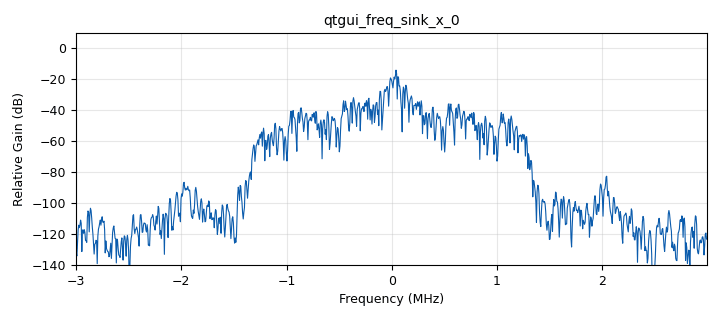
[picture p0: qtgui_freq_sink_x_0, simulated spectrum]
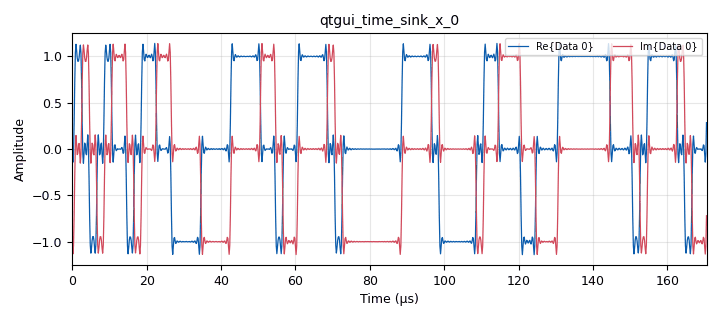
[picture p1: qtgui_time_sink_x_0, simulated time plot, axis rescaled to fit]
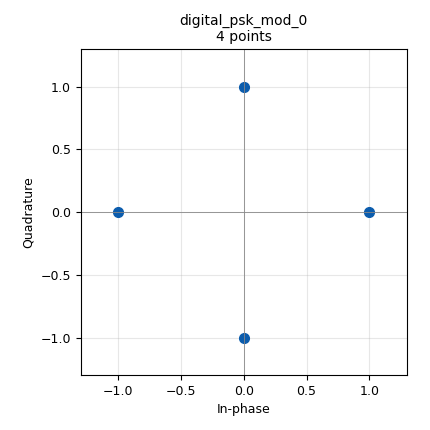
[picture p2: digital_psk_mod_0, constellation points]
<?xml version='1.0' encoding='utf-8'?>
<?grc format='1' created='3.7.11'?>
<flow_graph>
<block>
<key>options</key>
<param><key>id</key><value>transmit</value></param>
<param><key>generate_options</key><value>qt_gui</value></param>
</block>
<block>
<key>variable</key>
<param><key>id</key><value>freq</value></param>
<param><key>value</key><value>2e6</value></param>
</block>
<block>
<key>variable</key>
<param><key>id</key><value>samp_rate</value></param>
<param><key>value</key><value>6e6</value></param>
</block>
<block>
<key>analog_random_source_x</key>
<param><key>id</key><value>analog_random_source_x_0</value></param>
<param><key>max</key><value>2</value></param>
<param><key>min</key><value>0</value></param>
<param><key>num_samps</key><value>1000</value></param>
<param><key>type</key><value>byte</value></param>
<param><key>repeat</key><value>True</value></param>
</block>
<block>
<key>blocks_file_sink</key>
<param><key>id</key><value>blocks_file_sink_0</value></param>
<param><key>type</key><value>byte</value></param>
<param><key>unbuffered</key><value>True</value></param>
</block>
<block>
<key>blocks_throttle</key>
<param><key>id</key><value>blocks_throttle_0</value></param>
<param><key>samples_per_second</key><value>samp_rate</value></param>
<param><key>type</key><value>byte</value></param>
</block>
<block>
<key>digital_psk_mod</key>
<param><key>id</key><value>digital_psk_mod_0</value></param>
<param><key>differential</key><value>True</value></param>
<param><key>excess_bw</key><value>0.35</value></param>
<param><key>mod_code</key><value>"none"</value></param>
<param><key>constellation_points</key><value>4</value></param>
<param><key>samples_per_symbol</key><value>3</value></param>
</block>
<block>
<key>pluto_sink</key>
<param><key>id</key><value>pluto_sink_0</value></param>
<param><key>attenuation</key><value>10.0</value></param>
<param><key>buffer_size</key><value>0x8000</value></param>
<param><key>cyclic</key><value>False</value></param>
<param><key>auto_filter</key><value>True</value></param>
<param><key>filter</key><value></value></param>
<param><key>uri</key><value>ip:pluto.local</value></param>
<param><key>frequency</key><value>2400000000</value></param>
<param><key>bandwidth</key><value>freq</value></param>
<param><key>samplerate</key><value>samp_rate</value></param>
</block>
<block>
<key>qtgui_freq_sink_x</key>
<param><key>id</key><value>qtgui_freq_sink_x_0</value></param>
<param><key>bw</key><value>samp_rate</value></param>
<param><key>fc</key><value>0</value></param>
<param><key>fftsize</key><value>1024</value></param>
<param><key>showports</key><value>True</value></param>
<param><key>type</key><value>complex</value></param>
<param><key>wintype</key><value>firdes.WIN_BLACKMAN_hARRIS</value></param>
</block>
<block>
<key>qtgui_time_sink_x</key>
<param><key>id</key><value>qtgui_time_sink_x_0</value></param>
<param><key>color1</key><value>"blue"</value></param>
<param><key>label1</key><value></value></param>
<param><key>color2</key><value>"red"</value></param>
<param><key>label2</key><value></value></param>
<param><key>size</key><value>1024</value></param>
<param><key>srate</key><value>samp_rate</value></param>
<param><key>type</key><value>complex</value></param>
</block>
<connection><source_block_id>analog_random_source_x_0</source_block_id><sink_block_id>blocks_throttle_0</sink_block_id><source_key>0</source_key><sink_key>0</sink_key></connection>
<connection><source_block_id>blocks_throttle_0</source_block_id><sink_block_id>blocks_file_sink_0</sink_block_id><source_key>0</source_key><sink_key>0</sink_key></connection>
<connection><source_block_id>blocks_throttle_0</source_block_id><sink_block_id>digital_psk_mod_0</sink_block_id><source_key>0</source_key><sink_key>0</sink_key></connection>
<connection><source_block_id>digital_psk_mod_0</source_block_id><sink_block_id>pluto_sink_0</sink_block_id><source_key>0</source_key><sink_key>0</sink_key></connection>
<connection><source_block_id>digital_psk_mod_0</source_block_id><sink_block_id>qtgui_freq_sink_x_0</sink_block_id><source_key>0</source_key><sink_key>0</sink_key></connection>
<connection><source_block_id>digital_psk_mod_0</source_block_id><sink_block_id>qtgui_time_sink_x_0</sink_block_id><source_key>0</source_key><sink_key>0</sink_key></connection>
</flow_graph>
